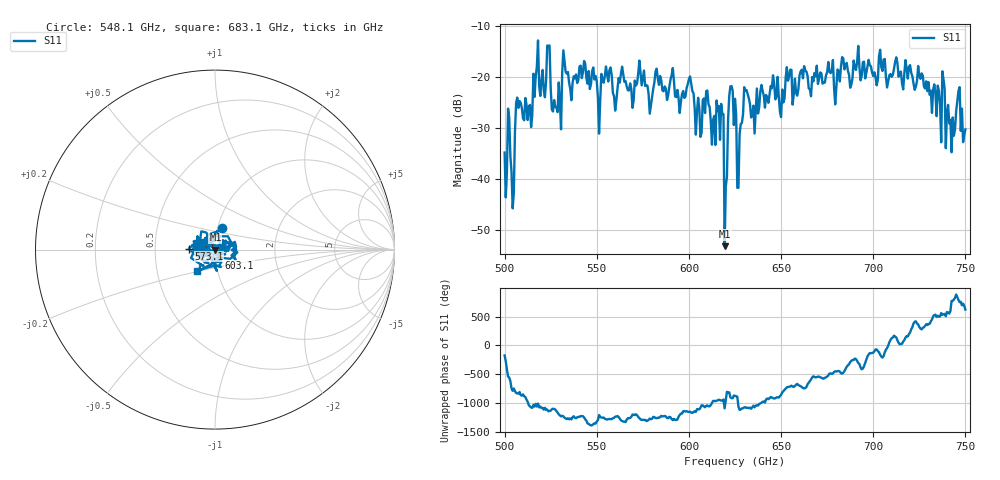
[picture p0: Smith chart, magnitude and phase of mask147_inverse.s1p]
!Created with skrf (http://scikit-rf.org).
# GHz S MA R 50.0
!freq magS11 angS11
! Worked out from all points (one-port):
!   401 points, 500 GHz to 750 GHz, reference 50 ohm
!   lowest |S11| = -53.2 dB at 619.4 GHz (marker M1), VSWR 1.00, Z = 50.2 - j0.0509 ohm
!   |S11| at or under -10 dB: start of sweep to end of sweep
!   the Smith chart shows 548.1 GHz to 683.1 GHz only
!   S11 on the Smith chart (normalised r, x): 548.1 GHz: 1.05, +0.25; 573.1 GHz: 0.75, +0.01; 603.1 GHz: 1.04, -0.09; 683.1 GHz: 0.79, -0.20
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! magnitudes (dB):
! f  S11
! 500 GHz  -34.8
! 502.5 GHz  -27.9
! 504.4 GHz  -45.8
! 507.5 GHz  -26.0
! 513.8 GHz  -25.4
! 516.9 GHz  -19.8
! 523.8 GHz  -13.8
! 527.5 GHz  -25.8
! 531.2 GHz  -19.1
! 548.1 GHz  -18.1
! 562.5 GHz  -21.0
! 573.1 GHz  -16.7
! 593.8 GHz  -22.5
! 603.1 GHz  -26.1
! 617.5 GHz  -25.2
! 619.4 GHz  -53.2
! 620.6 GHz  -39.6
! 622.5 GHz  -21.8
! 625 GHz  -24.2
! 627.5 GHz  -31.2
! 631.2 GHz  -22.5
! 635 GHz  -25.6
! 656.2 GHz  -25.4
! 683.1 GHz  -16.0
! 687.5 GHz  -22.1
! 718.8 GHz  -20.3
! 746.9 GHz  -22.0
! 750 GHz  -30.3
